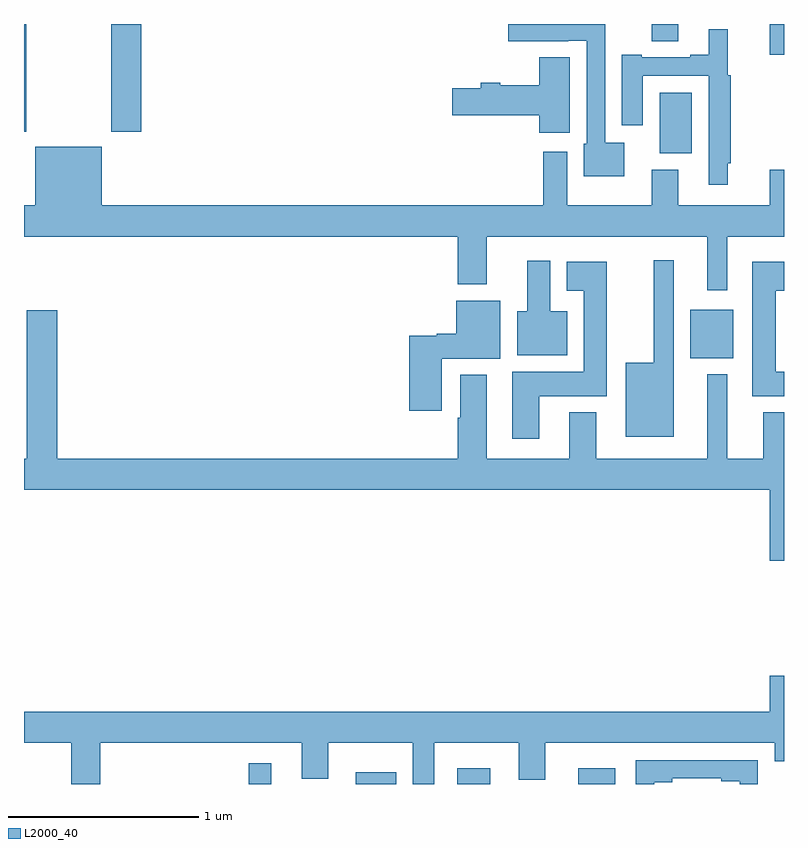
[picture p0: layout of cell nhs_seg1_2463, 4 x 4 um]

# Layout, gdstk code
import gdstk
lib = gdstk.Library(unit=1e-6, precision=1e-09)
def R(c, l, rs):  # rectangles x0, y0, x1, y1
    for r in rs: c.add(gdstk.rectangle(r[:2], r[2:], *l))
def P(c, l, *ps):  # polygons
    for p in ps: c.add(gdstk.Polygon(p, *l))
L2000_40 = (2000, 40)

nhs_seg1_2463 = lib.new_cell('nhs_seg1_2463')
R(nhs_seg1_2463, L2000_40, [(246.184,534.199,246.3,534.307), (246.746,534.199,246.958,534.262), (247.28,534.199,247.453,534.283), (247.917,534.199,248.113,534.283), (248.507,536.441,248.734,536.695), (248.345,537.518,248.515,537.838), (245,537.633,245.013,538.199), (245.458,537.633,245.618,538.199), (248.924,538.038,249,538.199), (248.303,538.108,248.443,538.199)])
P(nhs_seg1_2463, L2000_40, [(248.158,537.574),(248.058,537.574),(248.058,538.199),(247.548,538.199),(247.548,538.109),(247.865,538.109),(247.865,538.11),(247.962,538.11),(247.962,537.57),(247.946,537.57),(247.946,537.398),(248.158,537.398)],
  [(248.703,537.466),(248.72,537.466),(248.72,537.93),(248.703,537.93),(248.703,538.171),(248.603,538.171),(248.603,538.036),(248.507,538.036),(248.507,538.023),(248.251,538.023),(248.251,538.036),(248.147,538.036),(248.147,537.666),(248.257,537.666),(248.257,537.927),(248.604,537.927),(248.604,537.354),(248.703,537.354)],
  [(247.873,538.024),(247.712,538.024),(247.712,537.877),(247.507,537.877),(247.507,537.89),(247.403,537.89),(247.403,537.86),(247.254,537.86),(247.254,537.718),(247.712,537.718),(247.712,537.627),(247.873,537.627)],
  [(248.701,537.08),(249,537.08),(249,537.433),(248.924,537.433),(248.924,537.244),(248.443,537.244),(248.443,537.433),(248.303,537.433),(248.303,537.244),(247.858,537.244),(247.858,537.526),(247.733,537.526),(247.733,537.244),(245.41,537.244),(245.41,537.553),(245.06,537.553),(245.06,537.244),(245,537.244),(245,537.08),(247.283,537.08),(247.283,536.828),(247.435,536.828),(247.435,537.08),(248.597,537.08),(248.597,536.799),(248.701,536.799)],
  [(248.419,536.956),(248.315,536.956),(248.315,536.416),(248.168,536.416),(248.168,536.027),(248.419,536.027)],
  [(247.858,536.686),(247.771,536.686),(247.771,536.953),(247.649,536.953),(247.649,536.686),(247.595,536.686),(247.595,536.456),(247.858,536.456)],
  [(249,536.368),(248.956,536.368),(248.956,536.795),(249,536.795),(249,536.947),(248.834,536.947),(248.834,536.24),(249,536.24)],
  [(247.711,536.24),(248.068,536.24),(248.068,536.947),(247.856,536.947),(247.856,536.795),(247.946,536.795),(247.946,536.368),(247.571,536.368),(247.571,536.016),(247.711,536.016)],
  [(247.198,536.438),(247.507,536.438),(247.507,536.743),(247.274,536.743),(247.274,536.57),(247.172,536.57),(247.172,536.557),(247.028,536.557),(247.028,536.163),(247.198,536.163)],
  [(249,536.155),(248.891,536.155),(248.891,535.912),(248.701,535.912),(248.701,536.356),(248.597,536.356),(248.597,535.912),(248.011,535.912),(248.011,536.155),(247.871,536.155),(247.871,535.912),(247.435,535.912),(247.435,536.353),(247.295,536.353),(247.295,536.127),(247.283,536.127),(247.283,535.912),(245.174,535.912),(245.174,536.692),(245.014,536.692),(245.014,535.912),(245,535.912),(245,535.748),(248.924,535.748),(248.924,535.374),(249,535.374)],
  [(245.402,534.416),(246.461,534.416),(246.461,534.227),(246.601,534.227),(246.601,534.416),(247.046,534.416),(247.046,534.199),(247.159,534.199),(247.159,534.416),(247.604,534.416),(247.604,534.222),(247.744,534.222),(247.744,534.416),(248.951,534.416),(248.951,534.318),(249,534.318),(249,534.769),(248.924,534.769),(248.924,534.58),(245,534.58),(245,534.416),(245.249,534.416),(245.249,534.199),(245.402,534.199)],
  [(248.317,534.208),(248.413,534.208),(248.413,534.228),(248.669,534.228),(248.669,534.214),(248.766,534.214),(248.766,534.199),(248.862,534.199),(248.862,534.324),(248.22,534.324),(248.22,534.199),(248.317,534.199)])

lib.write_gds('nhs_seg1_2463.gds')
